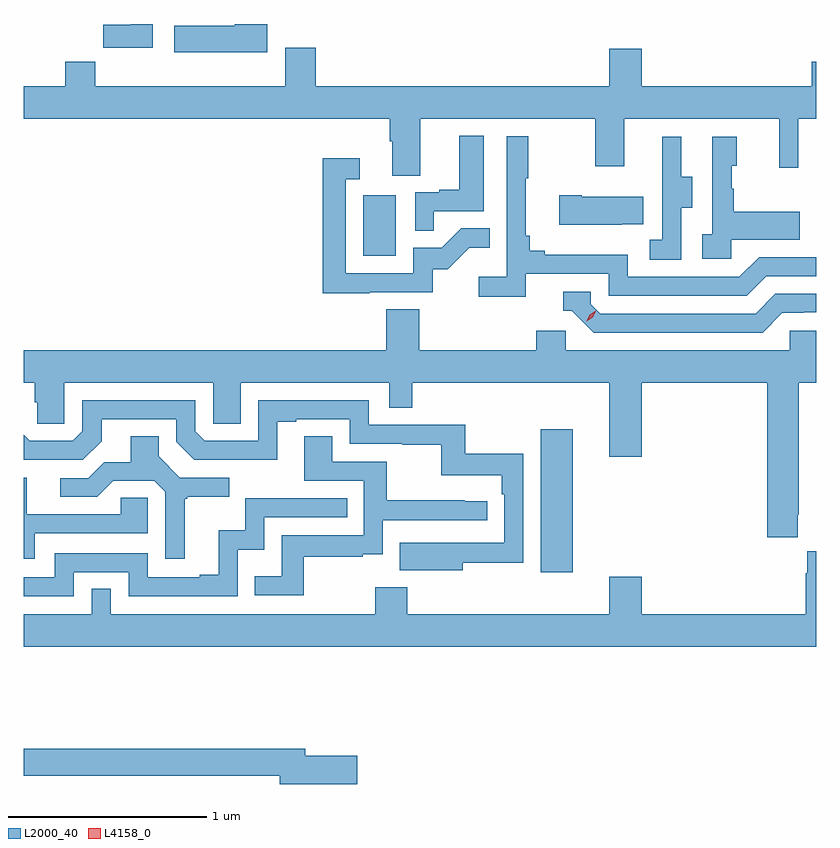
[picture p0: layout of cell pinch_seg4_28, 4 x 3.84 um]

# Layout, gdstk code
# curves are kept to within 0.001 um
import gdstk
lib = gdstk.Library(unit=1e-6, precision=1e-09)
def R(c, l, rs):  # rectangles x0, y0, x1, y1
    for r in rs: c.add(gdstk.rectangle(r[:2], r[2:], *l))
def P(c, l, *ps):  # polygons
    for p in ps: c.add(gdstk.Polygon(p, *l))
L2000_40 = (2000, 40)
L4158_0 = (4158, 0)

pinch_seg4_28 = lib.new_cell('pinch_seg4_28')
R(pinch_seg4_28, L2000_40, [(1135.691,811.848,1135.852,812.569), (1134.794,813.444,1134.958,813.751)])
P(pinch_seg4_28, L2000_40, [(1134.31,814.615),(1134.145,814.615),(1134.145,814.606),(1133.841,814.606),(1133.841,814.472),(1134.31,814.472)],
  [(1133.731,814.615),(1133.621,814.615),(1133.621,814.612),(1133.482,814.612),(1133.482,814.494),(1133.731,814.494)],
  [(1135.081,814.136),(1135.966,814.136),(1135.966,813.897),(1136.113,813.897),(1136.113,814.136),(1136.894,814.136),(1136.894,813.888),(1136.991,813.888),(1136.991,814.136),(1137.081,814.136),(1137.081,814.424),(1137.059,814.424),(1137.059,814.3),(1136.2,814.3),(1136.2,814.489),(1136.036,814.489),(1136.036,814.3),(1134.554,814.3),(1134.554,814.495),(1134.401,814.495),(1134.401,814.3),(1133.441,814.3),(1133.441,814.424),(1133.29,814.424),(1133.29,814.3),(1133.081,814.3),(1133.081,814.136),(1134.929,814.136),(1134.929,814.024),(1134.941,814.024),(1134.941,813.85),(1135.081,813.85)],
  [(1135.151,813.669),(1135.402,813.669),(1135.402,814.051),(1135.28,814.051),(1135.28,813.778),(1135.177,813.778),(1135.177,813.765),(1135.056,813.765),(1135.056,813.571),(1135.151,813.571)],
  [(1135.616,813.354),(1136.034,813.354),(1136.034,813.243),(1136.731,813.243),(1136.83,813.342),(1137.081,813.342),(1137.081,813.438),(1136.793,813.438),(1136.694,813.339),(1136.13,813.339),(1136.13,813.451),(1135.711,813.451),(1135.711,813.47),(1135.634,813.47),(1135.634,813.547),(1135.615,813.547),(1135.615,813.835),(1135.627,813.835),(1135.627,814.048),(1135.518,814.048),(1135.518,813.34),(1135.377,813.34),(1135.377,813.238),(1135.616,813.238)],
  [(1136.4,813.688),(1136.455,813.688),(1136.455,813.843),(1136.401,813.843),(1136.401,814.045),(1136.303,814.045),(1136.303,813.831),(1136.304,813.831),(1136.304,813.527),(1136.241,813.527),(1136.241,813.424),(1136.4,813.424)],
  [(1136.652,813.527),(1136.999,813.527),(1136.999,813.667),(1136.665,813.667),(1136.665,813.782),(1136.655,813.782),(1136.655,813.9),(1136.68,813.9),(1136.68,814.045),(1136.556,814.045),(1136.556,813.554),(1136.505,813.554),(1136.505,813.429),(1136.652,813.429)],
  [(1134.827,813.261),(1135.146,813.261),(1135.146,813.378),(1135.222,813.378),(1135.329,813.485),(1135.433,813.485),(1135.433,813.584),(1135.29,813.584),(1135.192,813.486),(1135.047,813.486),(1135.047,813.357),(1134.705,813.357),(1134.705,813.831),(1134.778,813.831),(1134.778,813.937),(1134.589,813.937),(1134.589,813.256),(1134.827,813.256)],
  [(1136.099,813.605),(1136.207,813.605),(1136.207,813.742),(1135.897,813.742),(1135.897,813.75),(1135.785,813.75),(1135.785,813.602),(1136.099,813.602)],
  [(1136.911,813.156),(1137.018,813.156),(1137.018,813.159),(1137.081,813.159),(1137.081,813.252),(1136.874,813.252),(1136.775,813.153),(1135.992,813.153),(1135.944,813.201),(1135.944,813.264),(1135.805,813.264),(1135.805,813.168),(1135.848,813.168),(1135.959,813.057),(1136.812,813.057)],
  [(1136.989,812.137),(1136.994,812.137),(1136.994,812.804),(1137.081,812.804),(1137.081,813.066),(1136.949,813.066),(1136.949,812.968),(1135.818,812.968),(1135.818,813.066),(1135.667,813.066),(1135.667,812.968),(1135.076,812.968),(1135.076,813.176),(1134.911,813.176),(1134.911,812.968),(1133.081,812.968),(1133.081,812.804),(1133.135,812.804),(1133.135,812.706),(1133.149,812.706),(1133.149,812.596),(1133.286,812.596),(1133.286,812.804),(1134.036,812.804),(1134.036,812.596),(1134.175,812.596),(1134.175,812.804),(1134.927,812.804),(1134.927,812.677),(1135.043,812.677),(1135.043,812.804),(1136.036,812.804),(1136.036,812.43),(1136.2,812.43),(1136.2,812.804),(1136.834,812.804),(1136.834,812.025),(1136.989,812.025)],
  [(1135.297,811.894),(1135.602,811.894),(1135.602,812.446),(1135.309,812.446),(1135.309,812.592),(1134.822,812.592),(1134.822,812.715),(1134.264,812.715),(1134.264,812.511),(1133.994,812.511),(1133.946,812.559),(1133.946,812.715),(1133.376,812.715),(1133.376,812.559),(1133.328,812.511),(1133.112,812.511),(1133.081,812.542),(1133.081,812.415),(1133.379,812.415),(1133.473,812.509),(1133.473,812.619),(1133.85,812.619),(1133.85,812.505),(1133.94,812.415),(1134.361,812.414),(1134.361,812.607),(1134.457,812.607),(1134.457,812.619),(1134.726,812.619),(1134.726,812.496),(1134.991,812.496),(1134.991,812.491),(1135.188,812.491),(1135.188,812.336),(1135.493,812.336),(1135.493,812.24),(1135.506,812.24),(1135.506,811.995),(1134.979,811.996),(1134.979,811.856),(1135.297,811.856)],
  [(1133.893,812.217),(1133.905,812.217),(1133.905,812.228),(1134.118,812.228),(1134.118,812.325),(1133.868,812.325),(1133.761,812.432),(1133.761,812.534),(1133.621,812.534),(1133.621,812.402),(1133.486,812.402),(1133.406,812.322),(1133.265,812.322),(1133.265,812.229),(1133.452,812.229),(1133.533,812.31),(1133.739,812.31),(1133.796,812.253),(1133.796,811.914),(1133.893,811.914)],
  [(1134.493,811.926),(1134.791,811.926),(1134.791,811.937),(1134.894,811.937),(1134.894,812.109),(1135.42,812.109),(1135.42,812.205),(1135.307,812.205),(1135.307,812.21),(1134.914,812.21),(1134.914,812.406),(1134.637,812.406),(1134.637,812.534),(1134.497,812.534),(1134.497,812.31),(1134.798,812.31),(1134.798,812.034),(1134.382,812.034),(1134.382,811.828),(1134.247,811.828),(1134.247,811.731),(1134.493,811.731)],
  [(1133.137,812.043),(1133.706,812.043),(1133.706,812.223),(1133.569,812.223),(1133.569,812.139),(1133.095,812.139),(1133.095,812.325),(1133.081,812.325),(1133.081,811.914),(1133.137,811.914)],
  [(1133.334,811.848),(1133.61,811.848),(1133.61,811.725),(1134.162,811.725),(1134.162,811.961),(1134.294,811.961),(1134.294,812.124),(1134.713,812.124),(1134.713,812.22),(1134.198,812.22),(1134.198,812.059),(1134.065,812.059),(1134.065,811.834),(1133.969,811.834),(1133.969,811.821),(1133.706,811.821),(1133.706,811.944),(1133.238,811.944),(1133.238,811.821),(1133.081,811.821),(1133.081,811.725),(1133.334,811.725)],
  [(1137.081,811.954),(1137.035,811.954),(1137.035,811.841),(1137.029,811.841),(1137.029,811.636),(1136.2,811.636),(1136.2,811.825),(1136.036,811.825),(1136.036,811.636),(1135.016,811.636),(1135.016,811.771),(1134.856,811.771),(1134.856,811.636),(1133.52,811.636),(1133.52,811.763),(1133.424,811.763),(1133.424,811.636),(1133.081,811.636),(1133.081,811.472),(1137.081,811.472)],
  [(1134.763,810.92),(1134.502,810.92),(1134.502,810.956),(1133.081,810.956),(1133.081,810.82),(1134.374,810.82),(1134.374,810.778),(1134.763,810.778)])
P(pinch_seg4_28, L4158_0, [(1135.922,813.114),(1135.922,813.114),(1135.937,813.147),(1135.968,813.167),(1135.968,813.167),(1135.968,813.167),(1135.952,813.134),(1135.922,813.114)])

lib.write_gds('pinch_seg4_28.gds')
